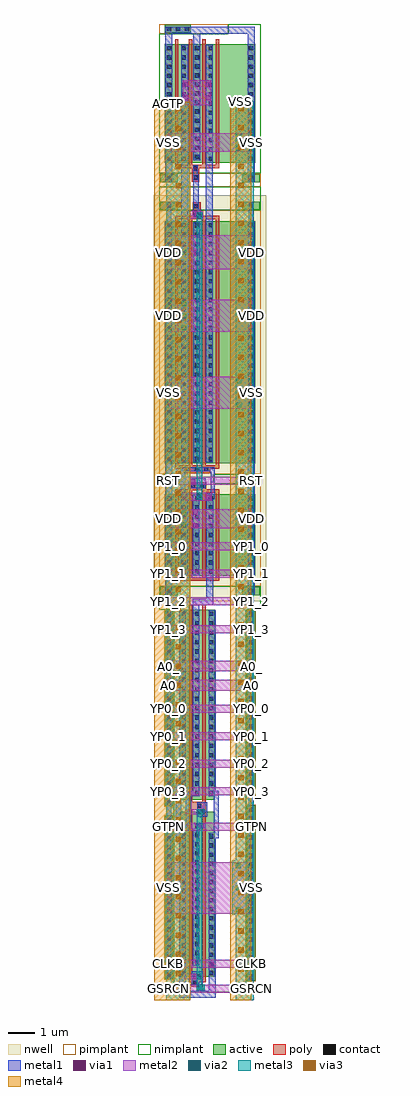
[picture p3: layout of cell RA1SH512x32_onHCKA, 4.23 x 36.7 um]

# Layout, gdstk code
import gdstk
lib = gdstk.Library(unit=1e-6, precision=1e-09)
def R(c, l, rs):  # rectangles x0, y0, x1, y1
    for r in rs: c.add(gdstk.rectangle(r[:2], r[2:], *l))
def A(c, l, x, y, w, h, nx, ny, dx, dy):  # array of equal rectangles
    R(c, l, [(x+i*dx, y+j*dy, x+i*dx+w, y+j*dy+h) for i in range(nx) for j in range(ny)])
def P(c, l, *ps):  # polygons
    for p in ps: c.add(gdstk.Polygon(p, *l))
nwell = (3, 0)
active = (6, 0)
poly = (17, 0)
pimplant = (25, 0)
nimplant = (26, 0)
contact = (30, 0)
metal1 = (31, 0)
metal2 = (32, 0)
metal3 = (33, 0)
metal4 = (34, 0)
via1 = (51, 0)
via2 = (52, 0)
via3 = (53, 0)

ra1sh512x32_onhcka = lib.new_cell('RA1SH512x32_onHCKA')
R(ra1sh512x32_onhcka, nwell, [(-0.57,14.985,3.66,30.265)])
R(ra1sh512x32_onhcka, active, [(2.94,0.73,3.24,7.315), (-0.15,0.79,0.15,6.925), (0.41,0.87,1.73,7.085), (-0.15,7.295,0.15,14.645), (0.41,7.525,1.73,14.675), (2.94,7.685,3.24,14.645), (-0.33,15.225,0.33,15.53), (2.76,15.225,3.42,15.53), (-0.15,15.96,3.24,19.01), (-0.33,19.44,0.33,19.745), (2.76,19.44,3.42,19.745), (-0.15,20.175,3.24,29.29), (-0.33,29.72,0.33,30.025), (2.76,29.72,3.42,30.025), (-0.33,30.75,0.33,31.055), (2.76,30.75,3.42,31.055), (-0.15,31.485,3.24,35.94), (-0.15,36.37,0.83,36.67)])
P(ra1sh512x32_onhcka, poly, [(1.76,36.12),(1.76,31.415),(1.38,31.415),(1.38,36.12),(1.25,36.12),(1.25,31.415),(0.87,31.415),(0.87,36.12),(0.74,36.12),(0.74,31.415),(0.36,31.415),(0.36,36.12),(0.23,36.12),(0.23,31.285),(0.85,31.285),(0.85,30.775),(1.15,30.775),(1.15,31.285),(1.89,31.285),(1.89,36.12)],
  [(0.89,30),(0.89,29.49),(0.23,29.49),(0.23,24.735),(0.36,24.735),(0.36,29.36),(0.74,29.36),(0.74,24.735),(0.87,24.735),(0.87,29.36),(1.25,29.36),(1.25,24.735),(1.38,24.735),(1.38,29.36),(1.76,29.36),(1.76,24.735),(1.89,24.735),(1.89,29.49),(1.19,29.49),(1.19,30)],
  [(1.76,24.735),(1.76,20.105),(1.38,20.105),(1.38,24.735),(1.25,24.735),(1.25,20.105),(0.87,20.105),(0.87,24.735),(0.74,24.735),(0.74,20.105),(0.36,20.105),(0.36,24.735),(0.23,24.735),(0.23,19.975),(0.57,19.975),(0.57,19.805),(1.55,19.805),(1.55,19.975),(1.89,19.975),(1.89,24.735)],
  [(0.735,19.465),(0.735,19.21),(0.24,19.21),(0.24,17.485),(0.37,17.485),(0.37,19.08),(0.75,19.08),(0.75,17.485),(0.88,17.485),(0.88,19.165),(1.26,19.165),(1.26,17.485),(1.39,17.485),(1.39,19.08),(1.77,19.08),(1.77,17.485),(1.9,17.485),(1.9,19.21),(1.405,19.21),(1.405,19.465)],
  [(1.77,17.485),(1.77,15.89),(1.39,15.89),(1.39,17.485),(1.26,17.485),(1.26,15.89),(0.88,15.89),(0.88,17.485),(0.75,17.485),(0.75,15.89),(0.37,15.89),(0.37,17.485),(0.24,17.485),(0.24,15.76),(1.9,15.76),(1.9,17.485)],
  [(1.26,14.855),(1.26,7.455),(0.88,7.455),(0.88,14.855),(0.75,14.855),(0.75,3.98),(0.88,3.98),(0.88,7.155),(1.26,7.155),(1.26,3.98),(1.39,3.98),(1.39,14.855)],
  [(1.26,3.98),(1.26,0.8),(0.88,0.8),(0.88,3.98),(0.75,3.98),(0.75,0.67),(0.84,0.67),(0.84,0.5),(1.14,0.5),(1.14,0.67),(1.39,0.67),(1.39,3.98)])
R(ra1sh512x32_onhcka, pimplant, [(2.91,0.7,3.27,7.345), (-0.18,0.76,0.18,6.955), (-0.18,7.265,0.18,14.675), (2.91,7.655,3.27,14.675), (-0.36,30.575,3.45,31.085), (-0.36,36.34,2.24,36.7)])
P(ra1sh512x32_onhcka, pimplant, [(-0.36,29.69),(-0.36,19.775),(0.395,19.775),(0.395,19.41),(-0.36,19.41),(-0.36,15.56),(3.45,15.56),(3.45,19.41),(1.68,19.41),(1.68,19.775),(3.45,19.775),(3.45,29.69)])
R(ra1sh512x32_onhcka, nimplant, [(-0.36,19.41,0.395,19.775), (1.68,19.41,3.45,19.775), (-0.36,29.69,3.45,30.575)])
P(ra1sh512x32_onhcka, nimplant, [(2.24,36.7),(2.24,36.34),(-0.36,36.34),(-0.36,31.085),(3.45,31.085),(3.45,36.7)],
  [(-0.36,15.56),(-0.36,14.675),(0.18,14.675),(0.18,0.3),(2.91,0.3),(2.91,14.675),(3.45,14.675),(3.45,15.56)])
A(ra1sh512x32_onhcka, contact, 3.01, 0.8, 0.16, 0.16, 1, 3, 0, 0.35)
A(ra1sh512x32_onhcka, contact, 0.99, 1.345, 0.16, 0.16, 1, 3, 0, 0.34)
A(ra1sh512x32_onhcka, contact, 3.01, 1.845, 0.16, 0.16, 1, 5, 0, 0.35)
A(ra1sh512x32_onhcka, contact, -0.08, 2.23, 0.16, 0.16, 1, 3, 0, 0.345)
A(ra1sh512x32_onhcka, contact, 0.48, 2.31, 0.16, 0.16, 1, 3, 0, 0.34)
A(ra1sh512x32_onhcka, contact, 1.5, 2.31, 0.16, 0.16, 1, 3, 0, 0.34)
A(ra1sh512x32_onhcka, contact, 0.99, 2.37, 0.16, 0.16, 1, 5, 0, 0.34)
A(ra1sh512x32_onhcka, contact, 3.01, 3.59, 0.16, 0.16, 1, 5, 0, 0.35)
A(ra1sh512x32_onhcka, contact, -0.08, 3.945, 0.16, 0.16, 1, 3, 0, 0.345)
A(ra1sh512x32_onhcka, contact, 0.48, 4.02, 0.16, 0.16, 1, 3, 0, 0.34)
A(ra1sh512x32_onhcka, contact, 1.5, 4.02, 0.16, 0.16, 1, 3, 0, 0.34)
A(ra1sh512x32_onhcka, contact, 0.99, 4.075, 0.16, 0.16, 1, 5, 0, 0.34)
A(ra1sh512x32_onhcka, contact, 3.01, 5.335, 0.16, 0.16, 1, 5, 0, 0.35)
A(ra1sh512x32_onhcka, contact, -0.08, 5.66, 0.16, 0.16, 1, 3, 0, 0.345)
A(ra1sh512x32_onhcka, contact, 0.99, 5.78, 0.16, 0.16, 1, 3, 0, 0.34)
A(ra1sh512x32_onhcka, contact, 0.99, 7.705, 0.16, 0.16, 1, 6, 0, 0.355)
A(ra1sh512x32_onhcka, contact, 1.5, 7.705, 0.16, 0.16, 1, 6, 0, 0.355)
A(ra1sh512x32_onhcka, contact, 3.01, 7.755, 0.16, 0.16, 1, 5, 0, 0.35)
A(ra1sh512x32_onhcka, contact, 0.48, 9.495, 0.16, 0.16, 1, 3, 0, 0.355)
A(ra1sh512x32_onhcka, contact, 3.01, 9.51, 0.16, 0.16, 1, 10, 0, 0.35)
A(ra1sh512x32_onhcka, contact, 0.99, 9.83, 0.16, 0.16, 1, 9, 0, 0.355)
A(ra1sh512x32_onhcka, contact, 1.5, 9.83, 0.16, 0.16, 1, 9, 0, 0.355)
A(ra1sh512x32_onhcka, contact, 0.48, 11.26, 0.16, 0.16, 1, 3, 0, 0.355)
A(ra1sh512x32_onhcka, contact, 3.01, 13.015, 0.16, 0.16, 1, 5, 0, 0.35)
A(ra1sh512x32_onhcka, contact, 0.48, 13.025, 0.16, 0.16, 3, 2, 0.51, 1.06)
A(ra1sh512x32_onhcka, contact, 0.48, 14.44, 0.16, 0.16, 3, 2, 0.51, 1.59)
A(ra1sh512x32_onhcka, contact, 0.48, 16.375, 0.16, 0.16, 3, 2, 0.51, 0.34)
A(ra1sh512x32_onhcka, contact, -0.08, 16.715, 0.16, 0.16, 1, 4, 0, 0.345)
A(ra1sh512x32_onhcka, contact, 3.01, 16.715, 0.16, 0.16, 1, 4, 0, 0.345)
A(ra1sh512x32_onhcka, contact, 0.48, 17.06, 0.16, 0.16, 3, 3, 0.51, 0.345)
A(ra1sh512x32_onhcka, contact, -0.08, 18.09, 0.16, 0.16, 1, 3, 0, 0.345)
A(ra1sh512x32_onhcka, contact, 0.48, 18.09, 0.16, 0.16, 3, 3, 0.51, 0.345)
A(ra1sh512x32_onhcka, contact, 3.01, 18.09, 0.16, 0.16, 1, 3, 0, 0.345)
A(ra1sh512x32_onhcka, contact, 0.64, 19.875, 0.16, 0.16, 3, 1, 0.34, 0)
A(ra1sh512x32_onhcka, contact, 0.47, 20.265, 0.16, 0.16, 3, 2, 0.51, 0.35)
A(ra1sh512x32_onhcka, contact, 0.47, 21.32, 0.16, 0.16, 3, 2, 0.51, 0.35)
A(ra1sh512x32_onhcka, contact, 0.98, 22.02, 0.16, 0.16, 1, 3, 0, 0.35)
A(ra1sh512x32_onhcka, contact, 0.47, 22.025, 0.16, 0.16, 1, 3, 0, 0.35)
A(ra1sh512x32_onhcka, contact, 1.49, 22.025, 0.16, 0.16, 1, 3, 0, 0.35)
A(ra1sh512x32_onhcka, contact, 0.47, 23.075, 0.16, 0.16, 3, 2, 0.51, 12.63)
A(ra1sh512x32_onhcka, contact, 0.98, 23.425, 0.16, 0.16, 1, 4, 0, 0.35)
A(ra1sh512x32_onhcka, contact, 0.47, 23.43, 0.16, 0.16, 1, 3, 0, 0.35)
A(ra1sh512x32_onhcka, contact, 1.49, 23.43, 0.16, 0.16, 1, 3, 0, 0.35)
A(ra1sh512x32_onhcka, contact, 0.47, 24.485, 0.16, 0.16, 1, 3, 0, 0.35)
A(ra1sh512x32_onhcka, contact, 1.49, 24.485, 0.16, 0.16, 1, 3, 0, 0.35)
A(ra1sh512x32_onhcka, contact, 0.98, 24.83, 0.16, 0.16, 1, 5, 0, 0.35)
A(ra1sh512x32_onhcka, contact, 0.47, 25.54, 0.16, 0.16, 1, 4, 0, 0.35)
A(ra1sh512x32_onhcka, contact, 1.49, 25.54, 0.16, 0.16, 1, 4, 0, 0.35)
A(ra1sh512x32_onhcka, contact, 0.98, 26.585, 0.16, 0.16, 1, 5, 0, 0.35)
A(ra1sh512x32_onhcka, contact, 0.47, 26.945, 0.16, 0.16, 1, 3, 0, 0.35)
A(ra1sh512x32_onhcka, contact, 1.49, 26.945, 0.16, 0.16, 1, 3, 0, 0.35)
A(ra1sh512x32_onhcka, contact, 0.47, 28, 0.16, 0.16, 1, 3, 0, 0.35)
A(ra1sh512x32_onhcka, contact, 1.49, 28, 0.16, 0.16, 1, 3, 0, 0.35)
A(ra1sh512x32_onhcka, contact, 0.98, 28.34, 0.16, 0.16, 1, 3, 0, 0.35)
A(ra1sh512x32_onhcka, contact, -0.08, 31.555, 0.16, 0.16, 1, 3, 0, 0.345)
A(ra1sh512x32_onhcka, contact, 0.47, 31.555, 0.16, 0.16, 1, 3, 0, 0.345)
A(ra1sh512x32_onhcka, contact, 1.49, 31.555, 0.16, 0.16, 1, 3, 0, 0.345)
A(ra1sh512x32_onhcka, contact, 3.01, 31.555, 0.16, 0.16, 1, 3, 0, 0.345)
A(ra1sh512x32_onhcka, contact, 0.98, 31.625, 0.16, 0.16, 1, 12, 0, 0.34)
A(ra1sh512x32_onhcka, contact, -0.08, 32.595, 0.16, 0.16, 1, 5, 0, 0.345)
A(ra1sh512x32_onhcka, contact, 0.47, 32.595, 0.16, 0.16, 1, 5, 0, 0.345)
A(ra1sh512x32_onhcka, contact, 1.49, 32.595, 0.16, 0.16, 1, 5, 0, 0.345)
A(ra1sh512x32_onhcka, contact, 3.01, 32.595, 0.16, 0.16, 1, 5, 0, 0.345)
A(ra1sh512x32_onhcka, contact, -0.08, 34.325, 0.16, 0.16, 1, 5, 0, 0.345)
A(ra1sh512x32_onhcka, contact, 0.47, 34.325, 0.16, 0.16, 1, 4, 0, 0.345)
A(ra1sh512x32_onhcka, contact, 1.49, 34.325, 0.16, 0.16, 1, 4, 0, 0.345)
A(ra1sh512x32_onhcka, contact, 3.01, 34.325, 0.16, 0.16, 1, 5, 0, 0.345)
A(ra1sh512x32_onhcka, contact, -0.08, 36.44, 0.16, 0.16, 3, 1, 0.34, 0)
R(ra1sh512x32_onhcka, contact, [(0.91,0.57,1.07,0.73), (-0.08,0.86,0.08,1.02), (0.48,0.94,0.64,1.1), (1.5,0.94,1.66,1.1), (-0.08,1.205,0.08,1.365), (0.48,1.28,0.64,1.44), (1.5,1.28,1.66,1.44), (-0.08,1.545,0.08,1.705), (0.48,1.625,0.64,1.785), (1.5,1.625,1.66,1.785), (-0.08,1.89,0.08,2.05), (0.48,1.965,0.64,2.125), (1.5,1.965,1.66,2.125), (-0.08,3.26,0.08,3.42), (0.48,3.335,0.64,3.495), (1.5,3.335,1.66,3.495), (-0.08,3.605,0.08,3.765), (0.48,3.675,0.64,3.835), (1.5,3.675,1.66,3.835), (-0.08,4.975,0.08,5.135), (0.48,5.045,0.64,5.205), (1.5,5.045,1.66,5.205), (-0.08,5.32,0.08,5.48), (0.48,5.385,0.64,5.545), (1.5,5.385,1.66,5.545), (0.48,5.73,0.64,5.89), (1.5,5.73,1.66,5.89), (0.48,6.07,0.64,6.23), (1.5,6.07,1.66,6.23), (-0.08,6.69,0.08,6.85), (3.01,7.08,3.17,7.24), (1.06,7.225,1.22,7.385), (-0.08,7.365,0.08,7.525), (-0.08,7.72,0.08,7.88), (-0.08,8.07,0.08,8.23), (0.48,8.085,0.64,8.245), (-0.08,8.425,0.08,8.585), (0.48,8.44,0.64,8.6), (-0.08,8.775,0.08,8.935), (0.48,8.79,0.64,8.95), (-0.08,9.13,0.08,9.29), (0.48,9.145,0.64,9.305), (-0.08,9.48,0.08,9.64), (-0.08,9.835,0.08,9.995), (-0.08,10.185,0.08,10.345), (-0.08,10.54,0.08,10.7), (0.48,10.555,0.64,10.715), (-0.08,10.89,0.08,11.05), (0.48,10.91,0.64,11.07), (-0.08,11.245,0.08,11.405), (-0.08,11.595,0.08,11.755), (-0.08,11.95,0.08,12.11), (-0.08,12.3,0.08,12.46), (0.48,12.32,0.64,12.48), (-0.08,12.655,0.08,12.815), (0.48,12.675,0.64,12.835), (-0.08,13.005,0.08,13.165), (-0.08,13.36,0.08,13.52), (0.99,13.375,1.15,13.535), (1.5,13.375,1.66,13.535), (0.48,13.38,0.64,13.54), (-0.08,13.71,0.08,13.87), (0.99,13.73,1.15,13.89), (1.5,13.73,1.66,13.89), (0.48,13.735,0.64,13.895), (-0.08,14.065,0.08,14.225), (-0.08,14.415,0.08,14.575), (-0.08,15.3,0.08,15.46), (3.01,15.3,3.17,15.46), (-0.08,16.03,0.08,16.19), (3.01,16.03,3.17,16.19), (-0.08,16.375,0.08,16.535), (3.01,16.375,3.17,16.535), (0.835,19.235,0.995,19.395), (1.175,19.235,1.335,19.395), (-0.08,19.51,0.08,19.67), (3.01,19.51,3.17,19.67), (-0.08,20.245,0.08,20.405), (3.01,20.245,3.17,20.405), (-0.08,20.6,0.08,20.76), (3.01,20.6,3.17,20.76), (-0.08,20.95,0.08,21.11), (3.01,20.95,3.17,21.11), (0.98,20.965,1.14,21.125), (0.47,20.97,0.63,21.13), (1.49,20.97,1.65,21.13), (-0.08,21.305,0.08,21.465), (3.01,21.305,3.17,21.465), (-0.08,21.655,0.08,21.815), (3.01,21.655,3.17,21.815), (-0.08,22.01,0.08,22.17), (3.01,22.01,3.17,22.17), (-0.08,22.36,0.08,22.52), (3.01,22.36,3.17,22.52), (-0.08,22.715,0.08,22.875), (3.01,22.715,3.17,22.875), (-0.08,23.065,0.08,23.225), (3.01,23.065,3.17,23.225), (-0.08,23.42,0.08,23.58), (3.01,23.42,3.17,23.58), (-0.08,23.77,0.08,23.93), (3.01,23.77,3.17,23.93), (-0.08,24.125,0.08,24.285), (3.01,24.125,3.17,24.285), (-0.08,24.475,0.08,24.635), (3.01,24.475,3.17,24.635), (-0.08,24.83,0.08,24.99), (3.01,24.83,3.17,24.99), (-0.08,25.18,0.08,25.34), (3.01,25.18,3.17,25.34), (-0.08,25.535,0.08,25.695), (3.01,25.535,3.17,25.695), (-0.08,25.885,0.08,26.045), (3.01,25.885,3.17,26.045), (-0.08,26.24,0.08,26.4), (3.01,26.24,3.17,26.4), (-0.08,26.59,0.08,26.75), (3.01,26.59,3.17,26.75), (-0.08,26.945,0.08,27.105), (3.01,26.945,3.17,27.105), (-0.08,27.295,0.08,27.455), (3.01,27.295,3.17,27.455), (-0.08,27.65,0.08,27.81), (3.01,27.65,3.17,27.81), (-0.08,28,0.08,28.16), (3.01,28,3.17,28.16), (-0.08,28.355,0.08,28.515), (3.01,28.355,3.17,28.515), (-0.08,28.705,0.08,28.865), (3.01,28.705,3.17,28.865), (0.47,29.055,0.63,29.215), (1.49,29.055,1.65,29.215), (-0.08,29.06,0.08,29.22), (3.01,29.06,3.17,29.22), (0.96,29.43,1.12,29.59), (0.96,29.77,1.12,29.93), (-0.08,29.79,0.08,29.95), (3.01,29.79,3.17,29.95), (-0.08,30.825,0.08,30.985), (3.01,30.825,3.17,30.985), (0.92,30.845,1.08,31.005), (0.92,31.185,1.08,31.345)])
R(ra1sh512x32_onhcka, metal1, [(0.86,0.57,1.28,1.075), (1.06,6.89,1.44,7.435), (0.89,15.98,1.15,18.99), (0.785,19.235,1.385,19.625), (0.47,20.215,0.73,35.92), (0.91,20.215,1.17,29.25), (1.39,20.215,1.65,35.92)])
P(ra1sh512x32_onhcka, metal1, [(-0.13,36.6),(-0.13,30.775),(0.13,30.775),(0.13,36.34),(0.91,36.34),(0.91,31.575),(1.17,31.575),(1.17,36.34),(2.96,36.34),(2.96,30.775),(3.22,30.775),(3.22,36.6)],
  [(0.92,31.395),(0.92,29.72),(0.91,29.72),(0.91,29.43),(1.2,29.43),(1.2,29.72),(1.12,29.72),(1.12,31.055),(1.08,31.055),(1.08,31.395)],
  [(3.01,30),(3.01,29.27),(2.96,29.27),(2.96,15.25),(3.22,15.25),(3.22,29.27),(3.17,29.27),(3.17,30)],
  [(-0.08,30),(-0.08,29.27),(-0.13,29.27),(-0.13,15.25),(0.13,15.25),(0.13,29.27),(0.08,29.27),(0.08,30)],
  [(0.445,20.035),(0.445,15.98),(0.705,15.98),(0.705,19.055),(0.605,19.055),(0.605,19.875),(1.565,19.875),(1.565,19.055),(1.4,19.055),(1.4,15.095),(0.89,15.095),(0.89,7.855),(0.64,7.855),(0.64,6.46),(0.89,6.46),(0.89,1.295),(1.15,1.295),(1.15,6.46),(1.38,6.46),(1.38,6.67),(0.84,6.67),(0.84,7.655),(1.15,7.655),(1.15,14.835),(1.66,14.835),(1.66,18.83),(1.725,18.83),(1.725,20.035)],
  [(1.5,14.655),(1.5,7.655),(1.68,7.655),(1.68,6.28),(1.5,6.28),(1.5,0.35),(0.64,0.35),(0.64,6.28),(0.46,6.28),(0.46,8.035),(0.64,8.035),(0.64,14.655),(0.38,14.655),(0.38,8.24),(0.26,8.24),(0.26,6.075),(0.38,6.075),(0.38,0.09),(1.76,0.09),(1.76,6.08),(1.88,6.08),(1.88,7.86),(1.76,7.86),(1.76,14.655)],
  [(3.01,14.625),(3.01,5.185),(2.985,5.185),(2.985,3.245),(3.01,3.245),(3.01,0.75),(3.17,0.75),(3.17,3.245),(3.195,3.245),(3.195,5.185),(3.17,5.185),(3.17,14.625)],
  [(-0.08,14.625),(-0.08,5.185),(-0.105,5.185),(-0.105,3.245),(-0.08,3.245),(-0.08,0.81),(0.08,0.81),(0.08,3.245),(0.105,3.245),(0.105,5.185),(0.08,5.185),(0.08,14.625)])
A(ra1sh512x32_onhcka, metal2, 0, 7.705, 3.09, 0.3, 1, 4, 0, 1.035)
A(ra1sh512x32_onhcka, metal2, 0, 13.8, 3.09, 0.3, 1, 4, 0, 1.035)
R(ra1sh512x32_onhcka, metal2, [(0,0.28,3.09,0.57), (0.575,0.78,1.295,0.98), (0,1.22,3.09,1.51), (-0.1,3.245,3.19,5.185), (0,6.365,3.09,6.665), (0.62,6.98,1.34,7.18), (0,11.635,3.09,12.04), (0,12.355,3.09,12.76), (-0.1,17.73,3.19,18.45), (0.5,18.765,1.605,19.065), (0,19.38,3.09,19.67), (0,22.235,3.19,23.435), (-0.1,25.135,3.19,26.335), (-0.1,27.475,3.19,28.765), (0.675,29.375,1.295,29.675), (-0.1,31.89,3.19,32.6)])
P(ra1sh512x32_onhcka, metal2, [(0.525,34.585),(0.525,33.93),(0,33.93),(0,33.64),(1.595,33.64),(1.595,34.585)])
R(ra1sh512x32_onhcka, metal3, [(-0.1,0,0.81,33.785), (1.05,18.82,1.25,29.62)])
P(ra1sh512x32_onhcka, metal3, [(2.52,33.785),(2.52,5.26),(2.375,5.26),(2.375,3.21),(2.52,3.21),(2.52,0),(3.19,0),(3.19,33.785)],
  [(1.05,7.18),(1.05,0.37),(1.34,0.37),(1.34,0.57),(1.25,0.57),(1.25,6.98),(1.34,6.98),(1.34,7.18)])
R(ra1sh512x32_onhcka, metal4, [(-0.56,0,0.81,33.785), (2.3,0,3.09,33.785)])
A(ra1sh512x32_onhcka, via1, -0.095, 25.185, 0.19, 0.19, 1, 3, 0, 0.455)
A(ra1sh512x32_onhcka, via1, 2.995, 25.185, 0.19, 0.19, 1, 3, 0, 0.455)
R(ra1sh512x32_onhcka, via1, [(0.91,0.785,1.1,0.975), (0.39,1.225,0.58,1.415), (1.51,1.225,1.7,1.415), (-0.095,3.295,0.095,3.485), (2.995,3.295,3.185,3.485), (-0.095,3.71,0.095,3.9), (2.995,3.71,3.185,3.9), (-0.095,4.12,0.095,4.31), (2.995,4.12,3.185,4.31), (-0.095,4.535,0.095,4.725), (2.995,4.535,3.185,4.725), (-0.095,4.945,0.095,5.135), (2.995,4.945,3.185,5.135), (0.69,6.47,0.88,6.66), (1.14,6.47,1.33,6.66), (1.07,6.985,1.26,7.175), (0.9,17.735,1.09,17.925), (-0.095,17.78,0.095,17.97), (2.995,17.78,3.185,17.97), (-0.095,18.21,0.095,18.4), (2.995,18.21,3.185,18.4), (0.9,18.255,1.09,18.445), (0.505,18.815,0.695,19.005), (1.41,18.815,1.6,19.005), (0.795,19.385,0.985,19.575), (-0.095,28.025,0.095,28.215), (0.92,28.025,1.11,28.215), (2.995,28.025,3.185,28.215), (0.92,29.48,1.11,29.67), (-0.095,31.94,0.095,32.13), (2.995,31.94,3.185,32.13), (-0.095,32.36,0.095,32.55), (2.995,32.36,3.185,32.55), (0.53,33.835,0.72,34.025), (1.4,33.835,1.59,34.025), (0.53,34.345,0.72,34.535), (1.4,34.345,1.59,34.535)])
A(ra1sh512x32_onhcka, via2, 2.515, 3.295, 0.19, 0.19, 1, 3, 0, 0.825)
A(ra1sh512x32_onhcka, via2, 2.995, 22.285, 0.19, 0.19, 1, 3, 0, 0.455)
A(ra1sh512x32_onhcka, via2, -0.095, 25.185, 0.19, 0.19, 1, 3, 0, 0.455)
A(ra1sh512x32_onhcka, via2, 0.465, 25.185, 0.19, 0.19, 1, 3, 0, 0.455)
R(ra1sh512x32_onhcka, via2, [(1.1,0.375,1.29,0.565), (1.055,0.785,1.245,0.975), (2.995,3.295,3.185,3.485), (2.995,3.71,3.185,3.9), (2.995,4.12,3.185,4.31), (2.995,4.535,3.185,4.725), (2.995,4.945,3.185,5.135), (1.1,6.985,1.29,7.175), (-0.095,17.78,0.095,17.97), (0.465,17.78,0.655,17.97), (-0.095,18.21,0.095,18.4), (0.465,18.21,0.655,18.4), (1.055,18.87,1.245,19.06), (2.555,22.285,2.745,22.475), (2.555,23.195,2.745,23.385), (-0.095,28.025,0.095,28.215), (0.465,28.025,0.655,28.215), (1.055,29.38,1.245,29.57), (2.555,31.94,2.745,32.13), (2.995,31.94,3.185,32.13), (2.555,32.36,2.745,32.55), (2.995,32.36,3.185,32.55)])
A(ra1sh512x32_onhcka, via3, 2.615, 2.5, 0.19, 0.19, 1, 5, 0, 0.72)
A(ra1sh512x32_onhcka, via3, 2.615, 6.095, 0.19, 0.19, 1, 5, 0, 0.72)
A(ra1sh512x32_onhcka, via3, 2.615, 9.69, 0.19, 0.19, 1, 5, 0, 0.72)
A(ra1sh512x32_onhcka, via3, 2.615, 13.285, 0.19, 0.19, 1, 5, 0, 0.72)
A(ra1sh512x32_onhcka, via3, 2.615, 16.88, 0.19, 0.19, 1, 5, 0, 0.72)
A(ra1sh512x32_onhcka, via3, 2.615, 20.475, 0.19, 0.19, 1, 5, 0, 0.72)
A(ra1sh512x32_onhcka, via3, 2.615, 24.07, 0.19, 0.19, 1, 5, 0, 0.72)
A(ra1sh512x32_onhcka, via3, 2.615, 27.665, 0.19, 0.19, 1, 5, 0, 0.72)
A(ra1sh512x32_onhcka, via3, 2.615, 31.26, 0.19, 0.19, 1, 4, 0, 0.72)
R(ra1sh512x32_onhcka, via3, [(0.26,0.9,0.45,1.09), (2.615,1.065,2.805,1.255), (0.26,1.62,0.45,1.81), (2.615,1.785,2.805,1.975), (0.26,2.345,0.45,2.535), (0.26,3.065,0.45,3.255), (0.26,3.79,0.45,3.98), (0.26,4.51,0.45,4.7), (0.26,5.235,0.45,5.425), (0.26,5.955,0.45,6.145), (0.26,6.68,0.45,6.87), (0.26,7.4,0.45,7.59), (0.26,8.125,0.45,8.315), (0.26,8.845,0.45,9.035), (0.26,9.57,0.45,9.76), (0.26,10.29,0.45,10.48), (0.26,11.015,0.45,11.205), (0.26,11.735,0.45,11.925), (0.26,12.46,0.45,12.65), (0.26,13.18,0.45,13.37), (0.26,13.905,0.45,14.095), (0.26,14.625,0.45,14.815), (0.26,15.35,0.45,15.54), (0.26,16.07,0.45,16.26), (0.26,16.795,0.45,16.985), (0.26,17.515,0.45,17.705), (0.26,18.24,0.45,18.43), (0.26,18.96,0.45,19.15), (0.26,19.685,0.45,19.875), (0.26,20.405,0.45,20.595), (0.26,21.13,0.45,21.32), (0.26,21.85,0.45,22.04), (0.26,22.575,0.45,22.765), (0.26,23.295,0.45,23.485), (0.26,24.02,0.45,24.21), (0.26,24.74,0.45,24.93), (0.26,25.465,0.45,25.655), (0.26,26.185,0.45,26.375), (0.26,26.91,0.45,27.1), (0.26,27.63,0.45,27.82), (0.26,28.355,0.45,28.545), (0.26,29.075,0.45,29.265), (0.26,29.8,0.45,29.99), (0.26,30.52,0.45,30.71), (0.26,31.245,0.45,31.435), (0.26,31.965,0.45,32.155), (0.26,32.69,0.45,32.88), (0.26,33.41,0.45,33.6)])
ra1sh512x32_onhcka.add(gdstk.Label('YP1_3', (0,13.95), layer=132, texttype=0))
ra1sh512x32_onhcka.add(gdstk.Label('YP1_2', (0,14.985), layer=132, texttype=0))
ra1sh512x32_onhcka.add(gdstk.Label('YP1_1', (0,16.02), layer=132, texttype=0))
ra1sh512x32_onhcka.add(gdstk.Label('YP1_0', (0,17.055), layer=132, texttype=0))
ra1sh512x32_onhcka.add(gdstk.Label('YP0_3', (0,7.855), layer=132, texttype=0))
ra1sh512x32_onhcka.add(gdstk.Label('YP0_2', (0,8.89), layer=132, texttype=0))
ra1sh512x32_onhcka.add(gdstk.Label('YP0_1', (0,9.925), layer=132, texttype=0))
ra1sh512x32_onhcka.add(gdstk.Label('YP0_0', (0,10.96), layer=132, texttype=0))
ra1sh512x32_onhcka.add(gdstk.Label('RST', (0,19.525), layer=132, texttype=0))
ra1sh512x32_onhcka.add(gdstk.Label('GTPN', (0,6.515), layer=132, texttype=0))
ra1sh512x32_onhcka.add(gdstk.Label('GSRCN', (0,0.425), layer=132, texttype=0))
ra1sh512x32_onhcka.add(gdstk.Label('CLKB', (0,1.365), layer=132, texttype=0))
ra1sh512x32_onhcka.add(gdstk.Label('AGTP', (0,33.712), layer=132, texttype=0))
ra1sh512x32_onhcka.add(gdstk.Label('A0_', (0,12.557), layer=132, texttype=0))
ra1sh512x32_onhcka.add(gdstk.Label('A0', (0,11.837), layer=132, texttype=0))
ra1sh512x32_onhcka.add(gdstk.Label('VSS', (0,32.245), layer=132, texttype=0))
ra1sh512x32_onhcka.add(gdstk.Label('VSS', (0,22.835), layer=132, texttype=0))
ra1sh512x32_onhcka.add(gdstk.Label('VSS', (0,4.215), layer=132, texttype=0))
ra1sh512x32_onhcka.add(gdstk.Label('VDD', (0,25.735), layer=132, texttype=0))
ra1sh512x32_onhcka.add(gdstk.Label('VDD', (0,28.12), layer=132, texttype=0))
ra1sh512x32_onhcka.add(gdstk.Label('VDD', (0,18.09), layer=132, texttype=0))
ra1sh512x32_onhcka.add(gdstk.Label('YP1_3', (3.09,13.95), layer=132, texttype=0))
ra1sh512x32_onhcka.add(gdstk.Label('YP1_2', (3.09,14.985), layer=132, texttype=0))
ra1sh512x32_onhcka.add(gdstk.Label('YP1_1', (3.09,16.02), layer=132, texttype=0))
ra1sh512x32_onhcka.add(gdstk.Label('YP1_0', (3.09,17.055), layer=132, texttype=0))
ra1sh512x32_onhcka.add(gdstk.Label('YP0_3', (3.09,7.855), layer=132, texttype=0))
ra1sh512x32_onhcka.add(gdstk.Label('YP0_2', (3.09,8.89), layer=132, texttype=0))
ra1sh512x32_onhcka.add(gdstk.Label('YP0_1', (3.09,9.925), layer=132, texttype=0))
ra1sh512x32_onhcka.add(gdstk.Label('YP0_0', (3.09,10.96), layer=132, texttype=0))
ra1sh512x32_onhcka.add(gdstk.Label('RST', (3.09,19.525), layer=132, texttype=0))
ra1sh512x32_onhcka.add(gdstk.Label('GTPN', (3.09,6.515), layer=132, texttype=0))
ra1sh512x32_onhcka.add(gdstk.Label('GSRCN', (3.09,0.425), layer=132, texttype=0))
ra1sh512x32_onhcka.add(gdstk.Label('CLKB', (3.09,1.365), layer=132, texttype=0))
ra1sh512x32_onhcka.add(gdstk.Label('A0_', (3.09,12.557), layer=132, texttype=0))
ra1sh512x32_onhcka.add(gdstk.Label('A0', (3.09,11.837), layer=132, texttype=0))
ra1sh512x32_onhcka.add(gdstk.Label('VSS', (3.09,32.245), layer=132, texttype=0))
ra1sh512x32_onhcka.add(gdstk.Label('VSS', (3.09,22.835), layer=132, texttype=0))
ra1sh512x32_onhcka.add(gdstk.Label('VSS', (3.09,4.215), layer=132, texttype=0))
ra1sh512x32_onhcka.add(gdstk.Label('VDD', (3.09,25.735), layer=132, texttype=0))
ra1sh512x32_onhcka.add(gdstk.Label('VDD', (3.09,28.12), layer=132, texttype=0))
ra1sh512x32_onhcka.add(gdstk.Label('VDD', (3.09,18.09), layer=132, texttype=0))
ra1sh512x32_onhcka.add(gdstk.Label('VSS', (2.695,0), layer=134, texttype=0))
ra1sh512x32_onhcka.add(gdstk.Label('VSS', (2.805,0), layer=133, texttype=0))
ra1sh512x32_onhcka.add(gdstk.Label('VDD', (0.405,0), layer=134, texttype=0))
ra1sh512x32_onhcka.add(gdstk.Label('VDD', (0.405,0), layer=133, texttype=0))
ra1sh512x32_onhcka.add(gdstk.Label('VSS', (2.695,33.785), layer=134, texttype=0))
ra1sh512x32_onhcka.add(gdstk.Label('VSS', (2.805,33.785), layer=133, texttype=0))
ra1sh512x32_onhcka.add(gdstk.Label('VDD', (0.405,33.785), layer=134, texttype=0))
ra1sh512x32_onhcka.add(gdstk.Label('VDD', (0.355,33.785), layer=133, texttype=0))

lib.write_gds('RA1SH512x32_onHCKA.gds')
